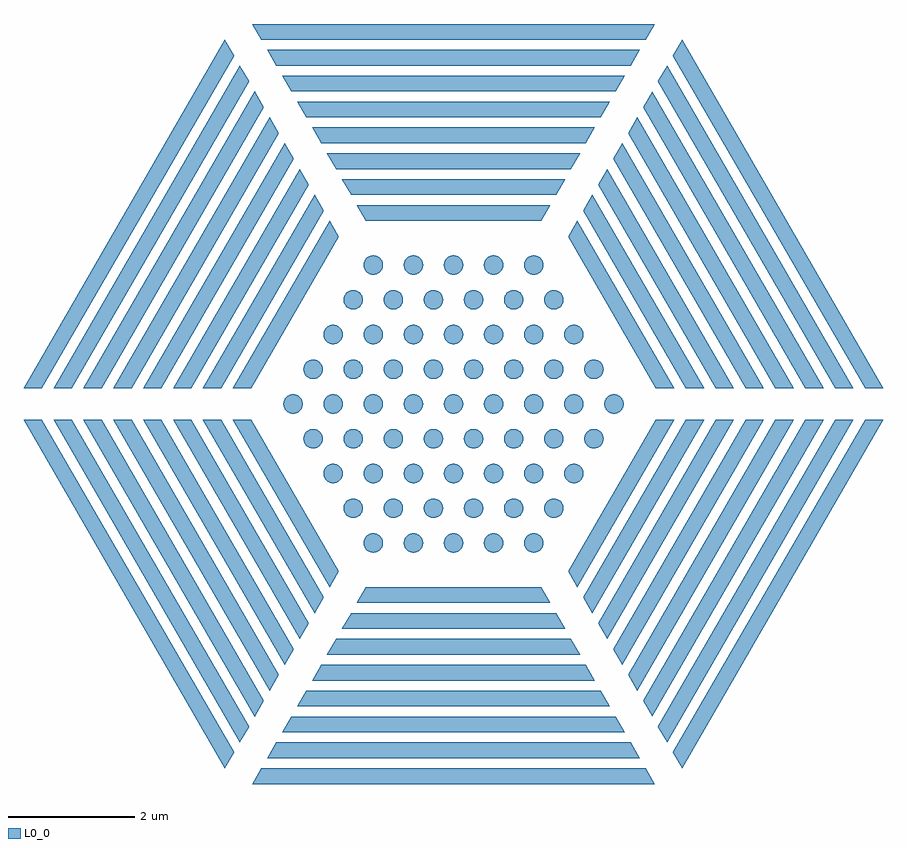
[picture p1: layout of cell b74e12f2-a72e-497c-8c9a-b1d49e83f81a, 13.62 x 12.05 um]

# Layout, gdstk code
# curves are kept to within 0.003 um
import gdstk
lib = gdstk.Library(unit=1e-6, precision=1e-09)
def P(c, l, *ps):  # polygons
    for p in ps: c.add(gdstk.Polygon(p, *l))
L0_0 = (0, 0)

b74e12f2_a72e_497c_8c9a_ = lib.new_cell('b74e12f2-a72e-497c-8c9a-b1d49e83f81a')
P(b74e12f2_a72e_497c_8c9a_, L0_0, [(7.441,50),(7.438,50.032),(7.428,50.063),(7.397,50.108),(7.352,50.139),(7.321,50.149),(7.289,50.153),(7.256,50.149),(7.225,50.139),(7.181,50.108),(7.16,50.083),(7.15,50.063),(7.136,50.011),(7.142,49.957),(7.16,49.917),(7.173,49.9),(7.197,49.878),(7.225,49.861),(7.256,49.851),(7.289,49.847),(7.321,49.851),(7.352,49.861),(7.397,49.892),(7.428,49.937),(7.438,49.968)],
  [(6.805,50),(6.802,50.032),(6.792,50.063),(6.761,50.108),(6.716,50.139),(6.685,50.149),(6.653,50.153),(6.62,50.149),(6.589,50.139),(6.545,50.108),(6.524,50.083),(6.514,50.063),(6.5,50.011),(6.506,49.957),(6.524,49.917),(6.537,49.9),(6.561,49.878),(6.589,49.861),(6.62,49.851),(6.653,49.847),(6.685,49.851),(6.716,49.861),(6.761,49.892),(6.792,49.937),(6.802,49.968)],
  [(7.123,50.551),(7.12,50.583),(7.11,50.614),(7.079,50.659),(7.034,50.69),(6.982,50.703),(6.949,50.702),(6.917,50.694),(6.879,50.673),(6.855,50.651),(6.837,50.624),(6.824,50.594),(6.818,50.562),(6.824,50.508),(6.842,50.468),(6.855,50.451),(6.888,50.422),(6.907,50.412),(6.928,50.404),(6.971,50.398),(7.014,50.404),(7.034,50.412),(7.079,50.443),(7.11,50.487),(7.12,50.518)],
  [(7.759,50.551),(7.756,50.583),(7.746,50.614),(7.715,50.659),(7.67,50.69),(7.618,50.703),(7.585,50.702),(7.553,50.694),(7.515,50.673),(7.491,50.651),(7.473,50.624),(7.46,50.594),(7.454,50.562),(7.46,50.508),(7.478,50.468),(7.491,50.451),(7.524,50.422),(7.543,50.412),(7.564,50.404),(7.607,50.398),(7.65,50.404),(7.67,50.412),(7.715,50.443),(7.746,50.487),(7.756,50.518)],
  [(8.077,50),(8.074,50.032),(8.064,50.063),(8.033,50.108),(7.988,50.139),(7.957,50.149),(7.925,50.153),(7.892,50.149),(7.861,50.139),(7.817,50.108),(7.796,50.083),(7.786,50.063),(7.772,50.011),(7.778,49.957),(7.796,49.917),(7.809,49.9),(7.833,49.878),(7.861,49.861),(7.892,49.851),(7.925,49.847),(7.957,49.851),(7.988,49.861),(8.033,49.892),(8.064,49.937),(8.074,49.968)],
  [(7.759,49.449),(7.756,49.482),(7.746,49.513),(7.715,49.557),(7.67,49.588),(7.65,49.596),(7.607,49.602),(7.553,49.592),(7.507,49.565),(7.478,49.532),(7.468,49.513),(7.454,49.46),(7.46,49.406),(7.491,49.349),(7.515,49.327),(7.543,49.31),(7.596,49.297),(7.628,49.298),(7.66,49.306),(7.68,49.315),(7.715,49.341),(7.746,49.386),(7.756,49.417)],
  [(7.123,49.449),(7.12,49.482),(7.11,49.513),(7.079,49.557),(7.034,49.588),(7.014,49.596),(6.971,49.602),(6.917,49.592),(6.871,49.565),(6.842,49.532),(6.832,49.513),(6.818,49.46),(6.824,49.406),(6.855,49.349),(6.879,49.327),(6.907,49.31),(6.96,49.297),(6.992,49.298),(7.024,49.306),(7.044,49.315),(7.079,49.341),(7.11,49.386),(7.12,49.417)],
  [(6.169,50),(6.166,50.032),(6.156,50.063),(6.125,50.108),(6.08,50.139),(6.049,50.149),(6.017,50.153),(5.984,50.149),(5.953,50.139),(5.909,50.108),(5.888,50.083),(5.878,50.063),(5.864,50.011),(5.87,49.957),(5.888,49.917),(5.901,49.9),(5.925,49.878),(5.953,49.861),(5.984,49.851),(6.017,49.847),(6.049,49.851),(6.08,49.861),(6.125,49.892),(6.156,49.937),(6.166,49.968)],
  [(6.805,51.102),(6.802,51.134),(6.792,51.165),(6.761,51.21),(6.726,51.236),(6.706,51.245),(6.674,51.253),(6.642,51.254),(6.599,51.245),(6.58,51.236),(6.537,51.202),(6.506,51.145),(6.5,51.091),(6.506,51.059),(6.519,51.028),(6.537,51.002),(6.561,50.979),(6.62,50.952),(6.664,50.949),(6.716,50.963),(6.761,50.994),(6.792,51.038),(6.802,51.069)],
  [(8.077,51.102),(8.074,51.134),(8.064,51.165),(8.033,51.21),(7.998,51.236),(7.978,51.245),(7.946,51.253),(7.914,51.254),(7.871,51.245),(7.852,51.236),(7.809,51.202),(7.778,51.145),(7.772,51.091),(7.778,51.059),(7.791,51.028),(7.809,51.002),(7.833,50.979),(7.892,50.952),(7.936,50.949),(7.988,50.963),(8.033,50.994),(8.064,51.038),(8.074,51.069)],
  [(8.713,50),(8.71,50.032),(8.7,50.063),(8.669,50.108),(8.624,50.139),(8.593,50.149),(8.561,50.153),(8.528,50.149),(8.497,50.139),(8.453,50.108),(8.432,50.083),(8.422,50.063),(8.408,50.011),(8.414,49.957),(8.432,49.917),(8.445,49.9),(8.469,49.878),(8.497,49.861),(8.528,49.851),(8.561,49.847),(8.593,49.851),(8.624,49.861),(8.669,49.892),(8.7,49.937),(8.71,49.968)],
  [(8.077,48.898),(8.074,48.931),(8.064,48.962),(8.033,49.006),(7.988,49.037),(7.936,49.051),(7.892,49.048),(7.833,49.021),(7.809,48.998),(7.791,48.972),(7.778,48.941),(7.772,48.909),(7.778,48.855),(7.809,48.798),(7.852,48.764),(7.871,48.755),(7.914,48.746),(7.946,48.747),(7.978,48.755),(7.998,48.764),(8.033,48.79),(8.064,48.835),(8.074,48.866)],
  [(6.805,48.898),(6.802,48.931),(6.792,48.962),(6.761,49.006),(6.716,49.037),(6.664,49.051),(6.62,49.048),(6.561,49.021),(6.537,48.998),(6.519,48.972),(6.506,48.941),(6.5,48.909),(6.506,48.855),(6.537,48.798),(6.58,48.764),(6.599,48.755),(6.642,48.746),(6.674,48.747),(6.706,48.755),(6.726,48.764),(6.761,48.79),(6.792,48.835),(6.802,48.866)],
  [(6.487,50.551),(6.484,50.583),(6.474,50.614),(6.443,50.659),(6.398,50.69),(6.346,50.703),(6.313,50.702),(6.281,50.694),(6.243,50.673),(6.219,50.651),(6.201,50.624),(6.188,50.594),(6.182,50.562),(6.188,50.508),(6.206,50.468),(6.219,50.451),(6.252,50.422),(6.271,50.412),(6.292,50.404),(6.335,50.398),(6.378,50.404),(6.398,50.412),(6.443,50.443),(6.474,50.487),(6.484,50.518)],
  [(7.441,51.102),(7.438,51.134),(7.428,51.165),(7.397,51.21),(7.362,51.236),(7.342,51.245),(7.31,51.253),(7.278,51.254),(7.235,51.245),(7.216,51.236),(7.173,51.202),(7.142,51.145),(7.136,51.091),(7.142,51.059),(7.155,51.028),(7.173,51.002),(7.197,50.979),(7.256,50.952),(7.3,50.949),(7.352,50.963),(7.397,50.994),(7.428,51.038),(7.438,51.069)],
  [(8.395,50.551),(8.392,50.583),(8.382,50.614),(8.351,50.659),(8.306,50.69),(8.254,50.703),(8.221,50.702),(8.189,50.694),(8.151,50.673),(8.127,50.651),(8.109,50.624),(8.096,50.594),(8.09,50.562),(8.096,50.508),(8.114,50.468),(8.127,50.451),(8.16,50.422),(8.179,50.412),(8.2,50.404),(8.243,50.398),(8.286,50.404),(8.306,50.412),(8.351,50.443),(8.382,50.487),(8.392,50.518)],
  [(8.395,49.449),(8.392,49.482),(8.382,49.513),(8.351,49.557),(8.306,49.588),(8.286,49.596),(8.243,49.602),(8.189,49.592),(8.143,49.565),(8.114,49.532),(8.104,49.513),(8.09,49.46),(8.096,49.406),(8.127,49.349),(8.151,49.327),(8.179,49.31),(8.232,49.297),(8.264,49.298),(8.296,49.306),(8.316,49.315),(8.351,49.341),(8.382,49.386),(8.392,49.417)],
  [(7.441,48.898),(7.438,48.931),(7.428,48.962),(7.397,49.006),(7.352,49.037),(7.3,49.051),(7.256,49.048),(7.197,49.021),(7.173,48.998),(7.155,48.972),(7.142,48.941),(7.136,48.909),(7.142,48.855),(7.173,48.798),(7.216,48.764),(7.235,48.755),(7.278,48.746),(7.31,48.747),(7.342,48.755),(7.362,48.764),(7.397,48.79),(7.428,48.835),(7.438,48.866)],
  [(6.487,49.449),(6.484,49.482),(6.474,49.513),(6.443,49.557),(6.398,49.588),(6.378,49.596),(6.335,49.602),(6.281,49.592),(6.235,49.565),(6.206,49.532),(6.196,49.513),(6.182,49.46),(6.188,49.406),(6.219,49.349),(6.243,49.327),(6.271,49.31),(6.324,49.297),(6.356,49.298),(6.388,49.306),(6.408,49.315),(6.443,49.341),(6.474,49.386),(6.484,49.417)],
  [(5.533,50),(5.53,50.032),(5.52,50.063),(5.489,50.108),(5.444,50.139),(5.413,50.149),(5.381,50.153),(5.348,50.149),(5.317,50.139),(5.273,50.108),(5.252,50.083),(5.242,50.063),(5.228,50.011),(5.234,49.957),(5.252,49.917),(5.265,49.9),(5.289,49.878),(5.317,49.861),(5.348,49.851),(5.381,49.847),(5.413,49.851),(5.444,49.861),(5.489,49.892),(5.52,49.937),(5.53,49.968)],
  [(6.487,51.652),(6.484,51.685),(6.474,51.716),(6.443,51.76),(6.398,51.791),(6.346,51.805),(6.302,51.802),(6.243,51.775),(6.219,51.752),(6.201,51.726),(6.188,51.695),(6.182,51.663),(6.188,51.609),(6.219,51.552),(6.262,51.518),(6.281,51.509),(6.324,51.5),(6.356,51.501),(6.388,51.509),(6.408,51.518),(6.443,51.544),(6.474,51.589),(6.484,51.62)],
  [(8.395,51.652),(8.392,51.685),(8.382,51.716),(8.351,51.76),(8.306,51.791),(8.254,51.805),(8.21,51.802),(8.151,51.775),(8.127,51.752),(8.109,51.726),(8.096,51.695),(8.09,51.663),(8.096,51.609),(8.127,51.552),(8.17,51.518),(8.189,51.509),(8.232,51.5),(8.264,51.501),(8.296,51.509),(8.316,51.518),(8.351,51.544),(8.382,51.589),(8.392,51.62)],
  [(9.349,50),(9.346,50.032),(9.336,50.063),(9.305,50.108),(9.26,50.139),(9.229,50.149),(9.197,50.153),(9.164,50.149),(9.133,50.139),(9.089,50.108),(9.068,50.083),(9.058,50.063),(9.044,50.011),(9.05,49.957),(9.068,49.917),(9.081,49.9),(9.105,49.878),(9.133,49.861),(9.164,49.851),(9.197,49.847),(9.229,49.851),(9.26,49.861),(9.305,49.892),(9.336,49.937),(9.346,49.968)],
  [(8.395,48.348),(8.392,48.38),(8.382,48.411),(8.351,48.456),(8.316,48.482),(8.286,48.494),(8.254,48.5),(8.221,48.499),(8.189,48.491),(8.151,48.47),(8.127,48.448),(8.109,48.421),(8.096,48.391),(8.09,48.359),(8.096,48.305),(8.109,48.274),(8.127,48.248),(8.151,48.225),(8.179,48.209),(8.232,48.195),(8.286,48.201),(8.343,48.232),(8.365,48.256),(8.382,48.284),(8.392,48.315)],
  [(6.487,48.348),(6.484,48.38),(6.474,48.411),(6.443,48.456),(6.408,48.482),(6.378,48.494),(6.346,48.5),(6.313,48.499),(6.281,48.491),(6.243,48.47),(6.219,48.448),(6.201,48.421),(6.188,48.391),(6.182,48.359),(6.188,48.305),(6.201,48.274),(6.219,48.248),(6.243,48.225),(6.271,48.209),(6.324,48.195),(6.378,48.201),(6.435,48.232),(6.457,48.256),(6.474,48.284),(6.484,48.315)],
  [(5.851,50.551),(5.848,50.583),(5.838,50.614),(5.807,50.659),(5.762,50.69),(5.71,50.703),(5.677,50.702),(5.645,50.694),(5.607,50.673),(5.583,50.651),(5.565,50.624),(5.552,50.594),(5.546,50.562),(5.552,50.508),(5.57,50.468),(5.583,50.451),(5.616,50.422),(5.635,50.412),(5.656,50.404),(5.699,50.398),(5.742,50.404),(5.762,50.412),(5.807,50.443),(5.838,50.487),(5.848,50.518)],
  [(7.123,51.652),(7.12,51.685),(7.11,51.716),(7.079,51.76),(7.034,51.791),(6.982,51.805),(6.938,51.802),(6.879,51.775),(6.855,51.752),(6.837,51.726),(6.824,51.695),(6.818,51.663),(6.824,51.609),(6.855,51.552),(6.898,51.518),(6.917,51.509),(6.96,51.5),(6.992,51.501),(7.024,51.509),(7.044,51.518),(7.079,51.544),(7.11,51.589),(7.12,51.62)],
  [(8.713,51.102),(8.71,51.134),(8.7,51.165),(8.669,51.21),(8.634,51.236),(8.614,51.245),(8.582,51.253),(8.55,51.254),(8.507,51.245),(8.488,51.236),(8.445,51.202),(8.414,51.145),(8.408,51.091),(8.414,51.059),(8.427,51.028),(8.445,51.002),(8.469,50.979),(8.528,50.952),(8.572,50.949),(8.624,50.963),(8.669,50.994),(8.7,51.038),(8.71,51.069)],
  [(9.031,49.449),(9.028,49.482),(9.018,49.513),(8.987,49.557),(8.942,49.588),(8.922,49.596),(8.879,49.602),(8.825,49.592),(8.779,49.565),(8.75,49.532),(8.74,49.513),(8.726,49.46),(8.732,49.406),(8.763,49.349),(8.787,49.327),(8.815,49.31),(8.868,49.297),(8.9,49.298),(8.932,49.306),(8.952,49.315),(8.987,49.341),(9.018,49.386),(9.028,49.417)],
  [(7.759,48.348),(7.756,48.38),(7.746,48.411),(7.715,48.456),(7.68,48.482),(7.65,48.494),(7.618,48.5),(7.585,48.499),(7.553,48.491),(7.515,48.47),(7.491,48.448),(7.473,48.421),(7.46,48.391),(7.454,48.359),(7.46,48.305),(7.473,48.274),(7.491,48.248),(7.515,48.225),(7.543,48.209),(7.596,48.195),(7.65,48.201),(7.707,48.232),(7.729,48.256),(7.746,48.284),(7.756,48.315)],
  [(6.169,48.898),(6.166,48.931),(6.156,48.962),(6.125,49.006),(6.08,49.037),(6.028,49.051),(5.984,49.048),(5.925,49.021),(5.901,48.998),(5.883,48.972),(5.87,48.941),(5.864,48.909),(5.87,48.855),(5.901,48.798),(5.944,48.764),(5.963,48.755),(6.006,48.746),(6.038,48.747),(6.07,48.755),(6.09,48.764),(6.125,48.79),(6.156,48.835),(6.166,48.866)],
  [(6.169,51.102),(6.166,51.134),(6.156,51.165),(6.125,51.21),(6.09,51.236),(6.07,51.245),(6.038,51.253),(6.006,51.254),(5.963,51.245),(5.944,51.236),(5.901,51.202),(5.87,51.145),(5.864,51.091),(5.87,51.059),(5.883,51.028),(5.901,51.002),(5.925,50.979),(5.984,50.952),(6.028,50.949),(6.08,50.963),(6.125,50.994),(6.156,51.038),(6.166,51.069)],
  [(7.759,51.652),(7.756,51.685),(7.746,51.716),(7.715,51.76),(7.67,51.791),(7.618,51.805),(7.574,51.802),(7.515,51.775),(7.491,51.752),(7.473,51.726),(7.46,51.695),(7.454,51.663),(7.46,51.609),(7.491,51.552),(7.534,51.518),(7.553,51.509),(7.596,51.5),(7.628,51.501),(7.66,51.509),(7.68,51.518),(7.715,51.544),(7.746,51.589),(7.756,51.62)],
  [(9.031,50.551),(9.028,50.583),(9.018,50.614),(8.987,50.659),(8.942,50.69),(8.89,50.703),(8.857,50.702),(8.825,50.694),(8.787,50.673),(8.763,50.651),(8.745,50.624),(8.732,50.594),(8.726,50.562),(8.732,50.508),(8.75,50.468),(8.763,50.451),(8.796,50.422),(8.815,50.412),(8.836,50.404),(8.879,50.398),(8.922,50.404),(8.942,50.412),(8.987,50.443),(9.018,50.487),(9.028,50.518)],
  [(8.713,48.898),(8.71,48.931),(8.7,48.962),(8.669,49.006),(8.624,49.037),(8.572,49.051),(8.528,49.048),(8.469,49.021),(8.445,48.998),(8.427,48.972),(8.414,48.941),(8.408,48.909),(8.414,48.855),(8.445,48.798),(8.488,48.764),(8.507,48.755),(8.55,48.746),(8.582,48.747),(8.614,48.755),(8.634,48.764),(8.669,48.79),(8.7,48.835),(8.71,48.866)],
  [(7.123,48.348),(7.12,48.38),(7.11,48.411),(7.079,48.456),(7.044,48.482),(7.014,48.494),(6.982,48.5),(6.949,48.499),(6.917,48.491),(6.879,48.47),(6.855,48.448),(6.837,48.421),(6.824,48.391),(6.818,48.359),(6.824,48.305),(6.837,48.274),(6.855,48.248),(6.879,48.225),(6.907,48.209),(6.96,48.195),(7.014,48.201),(7.071,48.232),(7.093,48.256),(7.11,48.284),(7.12,48.315)],
  [(5.851,49.449),(5.848,49.482),(5.838,49.513),(5.807,49.557),(5.762,49.588),(5.742,49.596),(5.699,49.602),(5.645,49.592),(5.599,49.565),(5.57,49.532),(5.56,49.513),(5.546,49.46),(5.552,49.406),(5.583,49.349),(5.607,49.327),(5.635,49.31),(5.688,49.297),(5.72,49.298),(5.752,49.306),(5.772,49.315),(5.807,49.341),(5.838,49.386),(5.848,49.417)],
  [(4.897,50),(4.894,50.032),(4.884,50.063),(4.853,50.108),(4.808,50.139),(4.777,50.149),(4.745,50.153),(4.712,50.149),(4.681,50.139),(4.637,50.108),(4.616,50.083),(4.606,50.063),(4.592,50.011),(4.598,49.957),(4.616,49.917),(4.629,49.9),(4.653,49.878),(4.681,49.861),(4.712,49.851),(4.745,49.847),(4.777,49.851),(4.808,49.861),(4.853,49.892),(4.884,49.937),(4.894,49.968)],
  [(6.169,52.203),(6.166,52.236),(6.156,52.267),(6.125,52.311),(6.08,52.342),(6.06,52.35),(6.017,52.356),(5.963,52.346),(5.917,52.319),(5.888,52.286),(5.878,52.267),(5.864,52.214),(5.87,52.16),(5.901,52.103),(5.925,52.081),(5.953,52.064),(6.006,52.051),(6.038,52.052),(6.07,52.06),(6.09,52.069),(6.125,52.095),(6.156,52.14),(6.166,52.171)],
  [(8.713,52.203),(8.71,52.236),(8.7,52.267),(8.669,52.311),(8.624,52.342),(8.604,52.35),(8.561,52.356),(8.507,52.346),(8.461,52.319),(8.432,52.286),(8.422,52.267),(8.408,52.214),(8.414,52.16),(8.445,52.103),(8.469,52.081),(8.497,52.064),(8.55,52.051),(8.582,52.052),(8.614,52.06),(8.634,52.069),(8.669,52.095),(8.7,52.14),(8.71,52.171)],
  [(9.985,50),(9.982,50.032),(9.972,50.063),(9.941,50.108),(9.896,50.139),(9.865,50.149),(9.833,50.153),(9.8,50.149),(9.769,50.139),(9.725,50.108),(9.704,50.083),(9.694,50.063),(9.68,50.011),(9.686,49.957),(9.704,49.917),(9.717,49.9),(9.741,49.878),(9.769,49.861),(9.8,49.851),(9.833,49.847),(9.865,49.851),(9.896,49.861),(9.941,49.892),(9.972,49.937),(9.982,49.968)],
  [(8.713,47.797),(8.71,47.829),(8.7,47.86),(8.669,47.905),(8.624,47.936),(8.572,47.949),(8.539,47.948),(8.507,47.94),(8.469,47.919),(8.445,47.897),(8.427,47.87),(8.414,47.84),(8.408,47.808),(8.414,47.754),(8.432,47.714),(8.445,47.697),(8.478,47.668),(8.497,47.658),(8.518,47.65),(8.561,47.644),(8.604,47.65),(8.624,47.658),(8.669,47.689),(8.7,47.733),(8.71,47.764)],
  [(6.169,47.797),(6.166,47.829),(6.156,47.86),(6.125,47.905),(6.08,47.936),(6.028,47.949),(5.995,47.948),(5.963,47.94),(5.925,47.919),(5.901,47.897),(5.883,47.87),(5.87,47.84),(5.864,47.808),(5.87,47.754),(5.888,47.714),(5.901,47.697),(5.934,47.668),(5.953,47.658),(5.974,47.65),(6.017,47.644),(6.06,47.65),(6.08,47.658),(6.125,47.689),(6.156,47.733),(6.166,47.764)],
  [(5.215,50.551),(5.212,50.583),(5.202,50.614),(5.171,50.659),(5.126,50.69),(5.074,50.703),(5.041,50.702),(5.009,50.694),(4.971,50.673),(4.947,50.651),(4.929,50.624),(4.916,50.594),(4.91,50.562),(4.916,50.508),(4.934,50.468),(4.947,50.451),(4.98,50.422),(4.999,50.412),(5.02,50.404),(5.063,50.398),(5.106,50.404),(5.126,50.412),(5.171,50.443),(5.202,50.487),(5.212,50.518)],
  [(6.805,52.203),(6.802,52.236),(6.792,52.267),(6.761,52.311),(6.716,52.342),(6.696,52.35),(6.653,52.356),(6.599,52.346),(6.553,52.319),(6.524,52.286),(6.514,52.267),(6.5,52.214),(6.506,52.16),(6.537,52.103),(6.561,52.081),(6.589,52.064),(6.642,52.051),(6.674,52.052),(6.706,52.06),(6.726,52.069),(6.761,52.095),(6.792,52.14),(6.802,52.171)],
  [(9.031,51.652),(9.028,51.685),(9.018,51.716),(8.987,51.76),(8.942,51.791),(8.89,51.805),(8.846,51.802),(8.787,51.775),(8.763,51.752),(8.745,51.726),(8.732,51.695),(8.726,51.663),(8.732,51.609),(8.763,51.552),(8.806,51.518),(8.825,51.509),(8.868,51.5),(8.9,51.501),(8.932,51.509),(8.952,51.518),(8.987,51.544),(9.018,51.589),(9.028,51.62)],
  [(9.667,49.449),(9.664,49.482),(9.654,49.513),(9.623,49.557),(9.578,49.588),(9.558,49.596),(9.515,49.602),(9.461,49.592),(9.415,49.565),(9.386,49.532),(9.376,49.513),(9.362,49.46),(9.368,49.406),(9.399,49.349),(9.423,49.327),(9.451,49.31),(9.504,49.297),(9.536,49.298),(9.568,49.306),(9.588,49.315),(9.623,49.341),(9.654,49.386),(9.664,49.417)],
  [(8.077,47.797),(8.074,47.829),(8.064,47.86),(8.033,47.905),(7.988,47.936),(7.936,47.949),(7.903,47.948),(7.871,47.94),(7.833,47.919),(7.809,47.897),(7.791,47.87),(7.778,47.84),(7.772,47.808),(7.778,47.754),(7.796,47.714),(7.809,47.697),(7.842,47.668),(7.861,47.658),(7.882,47.65),(7.925,47.644),(7.968,47.65),(7.988,47.658),(8.033,47.689),(8.064,47.733),(8.074,47.764)],
  [(5.851,48.348),(5.848,48.38),(5.838,48.411),(5.807,48.456),(5.772,48.482),(5.742,48.494),(5.71,48.5),(5.677,48.499),(5.645,48.491),(5.607,48.47),(5.583,48.448),(5.565,48.421),(5.552,48.391),(5.546,48.359),(5.552,48.305),(5.565,48.274),(5.583,48.248),(5.607,48.225),(5.635,48.209),(5.688,48.195),(5.742,48.201),(5.799,48.232),(5.821,48.256),(5.838,48.284),(5.848,48.315)],
  [(5.533,51.102),(5.53,51.134),(5.52,51.165),(5.489,51.21),(5.454,51.236),(5.434,51.245),(5.402,51.253),(5.37,51.254),(5.327,51.245),(5.308,51.236),(5.265,51.202),(5.234,51.145),(5.228,51.091),(5.234,51.059),(5.247,51.028),(5.265,51.002),(5.289,50.979),(5.348,50.952),(5.392,50.949),(5.444,50.963),(5.489,50.994),(5.52,51.038),(5.53,51.069)],
  [(7.441,52.203),(7.438,52.236),(7.428,52.267),(7.397,52.311),(7.352,52.342),(7.332,52.35),(7.289,52.356),(7.235,52.346),(7.189,52.319),(7.16,52.286),(7.15,52.267),(7.136,52.214),(7.142,52.16),(7.173,52.103),(7.197,52.081),(7.225,52.064),(7.278,52.051),(7.31,52.052),(7.342,52.06),(7.362,52.069),(7.397,52.095),(7.428,52.14),(7.438,52.171)],
  [(9.349,51.102),(9.346,51.134),(9.336,51.165),(9.305,51.21),(9.27,51.236),(9.25,51.245),(9.218,51.253),(9.186,51.254),(9.143,51.245),(9.124,51.236),(9.081,51.202),(9.05,51.145),(9.044,51.091),(9.05,51.059),(9.063,51.028),(9.081,51.002),(9.105,50.979),(9.164,50.952),(9.208,50.949),(9.26,50.963),(9.305,50.994),(9.336,51.038),(9.346,51.069)],
  [(9.349,48.898),(9.346,48.931),(9.336,48.962),(9.305,49.006),(9.26,49.037),(9.208,49.051),(9.164,49.048),(9.105,49.021),(9.081,48.998),(9.063,48.972),(9.05,48.941),(9.044,48.909),(9.05,48.855),(9.081,48.798),(9.124,48.764),(9.143,48.755),(9.186,48.746),(9.218,48.747),(9.25,48.755),(9.27,48.764),(9.305,48.79),(9.336,48.835),(9.346,48.866)],
  [(7.441,47.797),(7.438,47.829),(7.428,47.86),(7.397,47.905),(7.352,47.936),(7.3,47.949),(7.267,47.948),(7.235,47.94),(7.197,47.919),(7.173,47.897),(7.155,47.87),(7.142,47.84),(7.136,47.808),(7.142,47.754),(7.16,47.714),(7.173,47.697),(7.206,47.668),(7.225,47.658),(7.246,47.65),(7.289,47.644),(7.332,47.65),(7.352,47.658),(7.397,47.689),(7.428,47.733),(7.438,47.764)],
  [(5.533,48.898),(5.53,48.931),(5.52,48.962),(5.489,49.006),(5.444,49.037),(5.392,49.051),(5.348,49.048),(5.289,49.021),(5.265,48.998),(5.247,48.972),(5.234,48.941),(5.228,48.909),(5.234,48.855),(5.265,48.798),(5.308,48.764),(5.327,48.755),(5.37,48.746),(5.402,48.747),(5.434,48.755),(5.454,48.764),(5.489,48.79),(5.52,48.835),(5.53,48.866)],
  [(5.851,51.652),(5.848,51.685),(5.838,51.716),(5.807,51.76),(5.762,51.791),(5.71,51.805),(5.666,51.802),(5.607,51.775),(5.583,51.752),(5.565,51.726),(5.552,51.695),(5.546,51.663),(5.552,51.609),(5.583,51.552),(5.626,51.518),(5.645,51.509),(5.688,51.5),(5.72,51.501),(5.752,51.509),(5.772,51.518),(5.807,51.544),(5.838,51.589),(5.848,51.62)],
  [(8.077,52.203),(8.074,52.236),(8.064,52.267),(8.033,52.311),(7.988,52.342),(7.968,52.35),(7.925,52.356),(7.871,52.346),(7.825,52.319),(7.796,52.286),(7.786,52.267),(7.772,52.214),(7.778,52.16),(7.809,52.103),(7.833,52.081),(7.861,52.064),(7.914,52.051),(7.946,52.052),(7.978,52.06),(7.998,52.069),(8.033,52.095),(8.064,52.14),(8.074,52.171)],
  [(9.667,50.551),(9.664,50.583),(9.654,50.614),(9.623,50.659),(9.578,50.69),(9.526,50.703),(9.493,50.702),(9.461,50.694),(9.423,50.673),(9.399,50.651),(9.381,50.624),(9.368,50.594),(9.362,50.562),(9.368,50.508),(9.386,50.468),(9.399,50.451),(9.432,50.422),(9.451,50.412),(9.472,50.404),(9.515,50.398),(9.558,50.404),(9.578,50.412),(9.623,50.443),(9.654,50.487),(9.664,50.518)],
  [(9.031,48.348),(9.028,48.38),(9.018,48.411),(8.987,48.456),(8.952,48.482),(8.922,48.494),(8.89,48.5),(8.857,48.499),(8.825,48.491),(8.787,48.47),(8.763,48.448),(8.745,48.421),(8.732,48.391),(8.726,48.359),(8.732,48.305),(8.745,48.274),(8.763,48.248),(8.787,48.225),(8.815,48.209),(8.868,48.195),(8.922,48.201),(8.979,48.232),(9.001,48.256),(9.018,48.284),(9.028,48.315)],
  [(6.805,47.797),(6.802,47.829),(6.792,47.86),(6.761,47.905),(6.716,47.936),(6.664,47.949),(6.631,47.948),(6.599,47.94),(6.561,47.919),(6.537,47.897),(6.519,47.87),(6.506,47.84),(6.5,47.808),(6.506,47.754),(6.524,47.714),(6.537,47.697),(6.57,47.668),(6.589,47.658),(6.61,47.65),(6.653,47.644),(6.696,47.65),(6.716,47.658),(6.761,47.689),(6.792,47.733),(6.802,47.764)],
  [(5.215,49.449),(5.212,49.482),(5.202,49.513),(5.171,49.557),(5.126,49.588),(5.106,49.596),(5.063,49.602),(5.009,49.592),(4.963,49.565),(4.934,49.532),(4.924,49.513),(4.91,49.46),(4.916,49.406),(4.947,49.349),(4.971,49.327),(4.999,49.31),(5.052,49.297),(5.084,49.298),(5.116,49.306),(5.136,49.315),(5.171,49.341),(5.202,49.386),(5.212,49.417)],
  [(8.821,53.154),(5.756,53.154),(5.901,52.904),(8.677,52.904)],
  [(9.254,52.904),(9.11,52.654),(10.498,50.25),(10.787,50.25)],
  [(5.468,52.654),(5.323,52.904),(3.79,50.25),(4.079,50.25)],
  [(10.787,49.75),(10.498,49.75),(9.11,47.346),(9.254,47.096)],
  [(5.468,47.346),(4.079,49.75),(3.79,49.75),(5.323,47.096)],
  [(8.677,47.096),(5.901,47.096),(5.756,46.846),(8.821,46.846)],
  [(9.058,53.564),(5.52,53.564),(5.664,53.314),(8.914,53.314)],
  [(9.491,53.314),(9.346,53.064),(10.972,50.25),(11.26,50.25)],
  [(5.231,53.064),(5.087,53.314),(3.317,50.25),(3.606,50.25)],
  [(11.26,49.75),(10.972,49.75),(9.346,46.936),(9.491,46.686)],
  [(5.231,46.936),(3.606,49.75),(3.317,49.75),(5.087,46.686)],
  [(8.914,46.686),(5.664,46.686),(5.52,46.436),(9.058,46.436)],
  [(9.295,53.974),(5.283,53.974),(5.427,53.724),(9.15,53.724)],
  [(9.728,53.724),(9.583,53.474),(11.445,50.25),(11.734,50.25)],
  [(4.994,53.474),(4.85,53.724),(2.844,50.25),(3.132,50.25)],
  [(11.734,49.75),(11.445,49.75),(9.583,46.526),(9.728,46.276)],
  [(4.994,46.526),(3.132,49.75),(2.844,49.75),(4.85,46.276)],
  [(9.15,46.276),(5.427,46.276),(5.283,46.026),(9.295,46.026)],
  [(9.531,54.384),(5.046,54.384),(5.19,54.134),(9.387,54.134)],
  [(9.964,54.134),(9.82,53.884),(11.919,50.25),(12.207,50.25)],
  [(4.758,53.884),(4.613,54.134),(2.37,50.25),(2.659,50.25)],
  [(12.207,49.75),(11.919,49.75),(9.82,46.116),(9.964,45.866)],
  [(4.758,46.116),(2.659,49.75),(2.37,49.75),(4.613,45.866)],
  [(9.387,45.866),(5.19,45.866),(5.046,45.616),(9.531,45.616)],
  [(9.768,54.794),(4.809,54.794),(4.954,54.544),(9.624,54.544)],
  [(10.201,54.544),(10.057,54.294),(12.392,50.25),(12.681,50.25)],
  [(4.521,54.294),(4.377,54.544),(1.897,50.25),(2.185,50.25)],
  [(12.681,49.75),(12.392,49.75),(10.057,45.706),(10.201,45.456)],
  [(4.521,45.706),(2.185,49.75),(1.897,49.75),(4.377,45.456)],
  [(9.624,45.456),(4.954,45.456),(4.809,45.206),(9.768,45.206)],
  [(10.005,55.204),(4.573,55.204),(4.717,54.954),(9.861,54.954)],
  [(4.284,54.704),(4.14,54.954),(1.423,50.25),(1.712,50.25)],
  [(10.438,54.953),(10.294,54.704),(12.866,50.25),(13.154,50.25)],
  [(13.154,49.75),(12.866,49.75),(10.294,45.296),(10.438,45.047)],
  [(4.284,45.296),(1.712,49.75),(1.423,49.75),(4.14,45.046)],
  [(9.861,45.046),(4.717,45.046),(4.573,44.796),(10.005,44.796)],
  [(10.242,55.614),(4.336,55.614),(4.48,55.364),(10.097,55.364)],
  [(10.675,55.364),(10.53,55.114),(13.339,50.25),(13.628,50.25)],
  [(4.047,55.114),(3.903,55.364),(0.95,50.25),(1.238,50.25)],
  [(13.628,49.75),(13.339,49.75),(10.53,44.886),(10.675,44.636)],
  [(4.047,44.886),(1.238,49.75),(0.95,49.75),(3.903,44.636)],
  [(10.097,44.636),(4.48,44.636),(4.336,44.386),(10.242,44.386)],
  [(10.479,56.024),(4.099,56.024),(4.244,55.774),(10.334,55.774)],
  [(10.911,55.774),(10.767,55.524),(13.812,50.25),(14.101,50.25)],
  [(3.811,55.524),(3.666,55.774),(0.476,50.25),(0.765,50.25)],
  [(14.101,49.75),(13.812,49.75),(10.767,44.476),(10.911,44.226)],
  [(3.811,44.476),(0.765,49.75),(0.476,49.75),(3.666,44.226)],
  [(10.334,44.226),(4.244,44.226),(4.099,43.976),(10.479,43.976)])

lib.write_gds('b74e12f2-a72e-497c-8c9a-b1d49e83f81a.gds')
